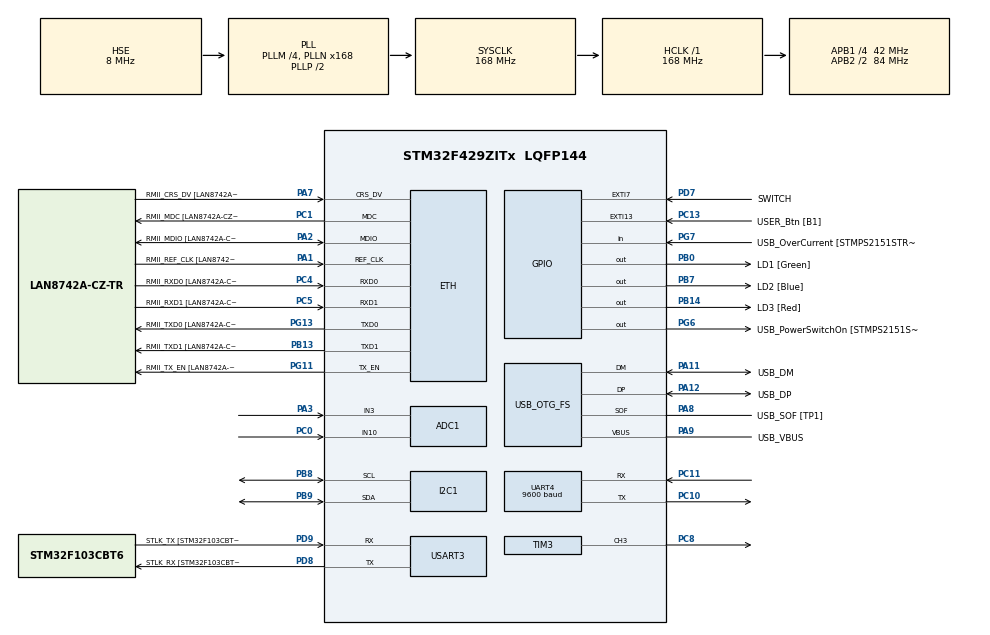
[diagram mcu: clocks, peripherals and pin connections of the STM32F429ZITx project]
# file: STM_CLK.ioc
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ADC1.Channel-0\#ChannelRegularConversion=ADC_CHANNEL_10
ADC1.Channel-1\#ChannelRegularConversion=ADC_CHANNEL_3
ADC1.ContinuousConvMode=ENABLE
ADC1.DMAContinuousRequests=ENABLE
ADC1.DiscontinuousConvMode=DISABLE
ADC1.InjNumberOfConversion=0
ADC1.NbrOfConversion=2
ADC1.NbrOfConversionFlag=1
ADC1.Rank-0\#ChannelRegularConversion=1
ADC1.Rank-1\#ChannelRegularConversion=2
ADC1.SamplingTime-0\#ChannelRegularConversion=ADC_SAMPLETIME_56CYCLES
ADC1.SamplingTime-1\#ChannelRegularConversion=ADC_SAMPLETIME_56CYCLES
ADC1.ScanConvMode=ENABLE
ADC1.master=1
Dma.ADC1.0.Direction=DMA_PERIPH_TO_MEMORY
Dma.ADC1.0.FIFOMode=DMA_FIFOMODE_DISABLE
Dma.ADC1.0.Instance=DMA2_Stream0
Dma.ADC1.0.MemDataAlignment=DMA_MDATAALIGN_WORD
Dma.ADC1.0.MemInc=DMA_MINC_ENABLE
Dma.ADC1.0.Mode=DMA_CIRCULAR
Dma.ADC1.0.PeriphDataAlignment=DMA_PDATAALIGN_WORD
Dma.ADC1.0.PeriphInc=DMA_PINC_DISABLE
Dma.ADC1.0.Priority=DMA_PRIORITY_LOW
Dma.Request0=ADC1
ETH.MediaInterface=HAL_ETH_RMII_MODE
ETH.PHY_Name=LAN8742A_PHY_ADDRESS
ETH.PHY_Value=0
ETH.PhyAddress=0
Mcu.Family=STM32F4
Mcu.Name=STM32F429ZITx
Mcu.Package=LQFP144
NVIC.ADC_IRQn=true\:0\:0\:false\:true\:true\:4\:true\:true\:true
NVIC.DMA2_Stream0_IRQn=true\:0\:0\:false\:false\:true\:false\:true\:true
NVIC.EXTI15_10_IRQn=true\:0\:0\:false\:true\:true\:7\:true\:true\:true
NVIC.EXTI9_5_IRQn=true\:0\:0\:false\:true\:true\:3\:true\:true\:true
NVIC.PriorityGroup=NVIC_PRIORITYGROUP_4
NVIC.RTC_Alarm_IRQn=true\:0\:0\:false\:true\:true\:2\:true\:true\:true
NVIC.TIM2_IRQn=true\:0\:0\:false\:true\:true\:1\:true\:true\:true
NVIC.UART4_IRQn=true\:0\:0\:false\:true\:true\:6\:true\:true\:true
NVIC.USART3_IRQn=true\:0\:0\:false\:true\:true\:5\:true\:true\:true
PA1.GPIO_Label=RMII_REF_CLK [LAN8742A-CZ-TR_REFCLK0]
PA1.Mode=RMII
PA1.Signal=ETH_REF_CLK
PA10.GPIO_Label=USB_ID
PA10.Signal=USB_OTG_FS_ID
PA11.GPIO_Label=USB_DM
PA11.Mode=Device_Only
PA11.Signal=USB_OTG_FS_DM
PA12.GPIO_Label=USB_DP
PA12.Mode=Device_Only
PA12.Signal=USB_OTG_FS_DP
PA13.GPIO_Label=TMS
PA13.Mode=Serial_Wire
PA13.Signal=SYS_JTMS-SWDIO
PA14.GPIO_Label=TCK
PA14.Mode=Serial_Wire
PA14.Signal=SYS_JTCK-SWCLK
PA2.GPIO_Label=RMII_MDIO [LAN8742A-CZ-TR_MDIO]
PA2.Mode=RMII
PA2.Signal=ETH_MDIO
PA3.Signal=ADCx_IN3
PA7.GPIO_Label=RMII_CRS_DV [LAN8742A-CZ-TR_CRS_DV]
PA7.Mode=RMII
PA7.Signal=ETH_CRS_DV
PA8.GPIO_Label=USB_SOF [TP1]
PA8.Mode=Activate_SOF_FS
PA8.Signal=USB_OTG_FS_SOF
PA9.GPIO_Label=USB_VBUS
PA9.Mode=Activate_VBUS
PA9.Signal=USB_OTG_FS_VBUS
PB0.GPIO_Label=LD1 [Green]
PB0.Signal=GPIO_Output
PB13.GPIO_Label=RMII_TXD1 [LAN8742A-CZ-TR_TXD1]
PB13.Mode=RMII
PB13.Signal=ETH_TXD1
PB14.GPIO_Label=LD3 [Red]
PB14.Signal=GPIO_Output
PB7.GPIO_Label=LD2 [Blue]
PB7.Signal=GPIO_Output
PB8.Mode=I2C
PB8.Signal=I2C1_SCL
PB9.Mode=I2C
PB9.Signal=I2C1_SDA
PC0.Signal=ADCx_IN10
PC1.GPIO_Label=RMII_MDC [LAN8742A-CZ-TR_MDC]
PC1.Mode=RMII
PC1.Signal=ETH_MDC
PC10.Mode=Asynchronous
PC10.Signal=UART4_TX
PC11.Mode=Asynchronous
PC11.Signal=UART4_RX
PC13.GPIO_Label=USER_Btn [B1]
PC13.GPIO_ModeDefaultEXTI=GPIO_MODE_IT_RISING_FALLING
PC13.Signal=GPXTI13
PC14/OSC32_IN.Mode=LSE-External-Oscillator
PC14/OSC32_IN.Signal=RCC_OSC32_IN
PC15/OSC32_OUT.Mode=LSE-External-Oscillator
PC15/OSC32_OUT.Signal=RCC_OSC32_OUT
PC4.GPIO_Label=RMII_RXD0 [LAN8742A-CZ-TR_RXD0]
PC4.Mode=RMII
PC4.Signal=ETH_RXD0
PC5.GPIO_Label=RMII_RXD1 [LAN8742A-CZ-TR_RXD1]
PC5.Mode=RMII
PC5.Signal=ETH_RXD1
PC8.Signal=S_TIM3_CH3
PD7.GPIO_Label=SWITCH
PD7.GPIO_ModeDefaultEXTI=GPIO_MODE_IT_RISING_FALLING
PD7.GPIO_PuPd=GPIO_PULLUP
PD7.Signal=GPXTI7
PD8.GPIO_Label=STLK_RX [STM32F103CBT6_PA3]
PD8.Mode=Asynchronous
PD8.Signal=USART3_TX
PD9.GPIO_Label=STLK_TX [STM32F103CBT6_PA2]
PD9.Mode=Asynchronous
PD9.Signal=USART3_RX
PG11.GPIO_Label=RMII_TX_EN [LAN8742A-CZ-TR_TXEN]
PG11.Mode=RMII
PG11.Signal=ETH_TX_EN
PG13.GPIO_Label=RMII_TXD0 [LAN8742A-CZ-TR_TXD0]
PG13.Mode=RMII
PG13.Signal=ETH_TXD0
PG6.GPIO_Label=USB_PowerSwitchOn [STMPS2151STR_EN]
PG6.Signal=GPIO_Output
PG7.GPIO_Label=USB_OverCurrent [STMPS2151STR_FAULT]
PG7.Signal=GPIO_Input
PH0/OSC_IN.GPIO_Label=MCO [STM32F103CBT6_PA8]
PH0/OSC_IN.Mode=HSE-External-Clock-Source
PH0/OSC_IN.Signal=RCC_OSC_IN
PH1/OSC_OUT.Mode=HSE-External-Clock-Source
PH1/OSC_OUT.Signal=RCC_OSC_OUT
ProjectManager.HeapSize=0x200
ProjectManager.StackSize=0x400
ProjectManager.TargetToolchain=STM32CubeIDE
RCC.48MHZClocksFreq_Value=48000000
RCC.AHBFreq_Value=168000000
RCC.APB1CLKDivider=RCC_HCLK_DIV4
RCC.APB1Freq_Value=42000000
RCC.APB1TimFreq_Value=84000000
RCC.APB2CLKDivider=RCC_HCLK_DIV2
RCC.APB2Freq_Value=84000000
RCC.APB2TimCLKDivider=2
RCC.APB2TimFreq_Value=168000000
RCC.CortexFreq_Value=168000000
RCC.HCLKFreq_Value=168000000
RCC.HSE_VALUE=8000000
RCC.HSI_VALUE=16000000
RCC.PLLM=4
RCC.PLLMUL=RCC_PLL_MUL9
RCC.PLLN=168
RCC.PLLQ=7
RCC.PRESCALERUSB=RCC_USBCLKSOURCE_PLL_DIV1_5
RCC.RCC_RTC_Clock_Source=RCC_RTCCLKSOURCE_LSE
RCC.RCC_RTC_Clock_SourceVirtual=RCC_RTCCLKSOURCE_LSE
RCC.SYSCLKFreq_VALUE=168000000
RCC.SYSCLKSource=RCC_SYSCLKSOURCE_PLLCLK
RCC.SYSCLKSourceVirtual=RCC_SYSCLKSOURCE_PLLCLK
RCC.USBFreq_Value=48000000
RCC.VCOOutputFreq_Value=336000000
RTC.Alarm=RTC_ALARM_A
RTC.AlarmMaskDateWeekDay=RTC_ALARMMASK_DATEWEEKDAY
RTC.AlarmMaskHours=RTC_ALARMMASK_HOURS
RTC.AlarmMaskMinutes=RTC_ALARMMASK_MINUTES
RTC.HourFormat=RTC_HOURFORMAT_12
RTC.Minutes_A=1
SH.ADCx_IN10.0=ADC1_IN10,IN10
SH.ADCx_IN3.0=ADC1_IN3,IN3
SH.S_TIM3_CH3.0=TIM3_CH3,PWM Generation3 CH3
TIM2.Period=0xffff-1
TIM2.Prescaler=8400-1
TIM3.Channel-PWM\ Generation3\ CH3=TIM_CHANNEL_3
TIM3.Period=2000-1
TIM3.Prescaler=84-1
UART4.BaudRate=9600
UART4.VirtualMode=Asynchronous
USART3.VirtualMode=VM_ASYNC
USB_OTG_FS.VirtualMode=Device_Only
VP_RTC_VS_RTC_Activate.Mode=RTC_Enabled
VP_RTC_VS_RTC_Alarm_A_Intern.Mode=Alarm A
VP_RTC_VS_RTC_Calendar.Mode=RTC_Calendar
VP_TIM2_VS_ClockSourceINT.Mode=Internal
VP_TIM3_VS_ClockSourceINT.Mode=Internal
board=NUCLEO-F429ZI

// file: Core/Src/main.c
/* USER CODE BEGIN Header */
/**
 ******************************************************************************
 * @file           : main.c
 * @brief          : Main program body
 ******************************************************************************
 * @attention
 *
 * Copyright (c) 2023 STMicroelectronics.
 * All rights reserved.
 *
 * This software is licensed under terms that can be found in the LICENSE file
 * in the root directory of this software component.
 * If no LICENSE file comes with this software, it is provided AS-IS.
 *
 ******************************************************************************
 */
/* USER CODE END Header */
#include "main.h"
#include "adc.h"
#include "dma.h"
#include "eth.h"
#include "i2c.h"
#include "rtc.h"
#include "tim.h"
#include "usart.h"
#include "usb_otg.h"
#include "gpio.h"

/* USER CODE BEGIN Includes */

int _write(int file, char *ptr, int len)
{
	HAL_UART_Transmit(&huart3, (uint8_t*)ptr, len, 500);
	return len;
}

/* USER CODE END Includes */

/* USER CODE BEGIN PD */
#define FLASH_USER_START_ADDR   ADDR_FLASH_SECTOR_22
#define FLASH_USER_END_ADDR     ADDR_FLASH_SECTOR_22  \
		+  GetSectorSize(ADDR_FLASH_SECTOR_22) -1 /* End @ of user Flash area : sector start address + sector size -1 */
#define FLASH_TIME_DATA 0
#define FLASH_ALARM_DATA 32

/* USER CODE END PD */

/* USER CODE BEGIN PV */
CLK_State_t clock_state = NORMAL_STATE;

uint8_t rx3Data, rx4Data;

RTC_AlarmTypeDef sAlarm;
RTC_DateTypeDef sDate;
RTC_TimeTypeDef sTime;
flashStatus_e status_f;
uint32_t Joycon[2];

char showTime[LCD_SIZE] = {0};
char showDate[LCD_SIZE] = {0};
char ampm[2][3] = {"AM", "PM"};
char copyTime[LCD_SIZE];
char controlTime[LCD_SIZE] = {0,};
bleBuffer_t ble = {0};
uint8_t cpyflag = 0, oneClick;
bool isSave = false;

uint8_t temp_ap = 0xFF, temp_h = 0xFF, temp_m = 0xFF, temp_s = 0xFF;
uint8_t curr_ap = 0xFF, curr_h = 0xFF, curr_m = 0xFF, curr_s = 0xFF;
uint8_t alarm_ap = 0xFF, alarm_h = 0xFF, alarm_m = 0xFF, alarm_s = 0xFF;
uint8_t songIndex = 0; // default song index

int adc1_val, adc2_val;

unsigned int stime, etime = 0, interval, ctime, count = 0;
unsigned int dbclk, holdclk;
buttonState buttonPosition;
timeFormat_t timeFormatter;
target_flashRange_t flash;
unsigned char buf[120];

void (*songList[2])(int*) = { springWater_song, threeBear_song };
/* USER CODE END PV */

void SystemClock_Config(void);
static void MX_NVIC_Init(void);

/* USER CODE BEGIN 0 */
uint32_t SECTORError = 0;
uint32_t saveData[DATASIZE_FLASH];

/* USER CODE END 0 */

int main(void)
{

	/* MCU Configuration--------------------------------------------------------*/

	/* Reset of all peripherals, Initializes the Flash interface and the Systick. */
	HAL_Init();

	/* Configure the system clock */
	SystemClock_Config();

	/* Initialize all configured peripherals */
	MX_GPIO_Init();
	MX_DMA_Init();
	MX_ETH_Init();
	MX_USART3_UART_Init();
	MX_USB_OTG_FS_PCD_Init();
	MX_I2C1_Init();
	MX_RTC_Init();
	MX_TIM2_Init();
	MX_UART4_Init();
	MX_ADC1_Init();
	MX_TIM3_Init();

	/* Initialize interrupts */
	MX_NVIC_Init();
	/* USER CODE BEGIN 2 */
	HAL_TIM_PWM_Start(&htim3, TIM_CHANNEL_3);
	HAL_ADC_Start_DMA(&hadc1, Joycon, sizeof(Joycon)/sizeof(Joycon[0]));
	HAL_UART_Receive_IT(&huart3, (uint8_t*)&rx3Data, sizeof(rx3Data));
	HAL_UART_Receive_IT(&huart4, (uint8_t*)&rx4Data, sizeof(rx4Data));
	HAL_RTC_SetAlarm_IT(&hrtc, &sAlarm, RTC_FORMAT_BIN);
	init();
	LCD_Clear();
	set_date(RTC_WEEKDAY_WEDNESDAY, 11, 22, 23);
//	set_time(13,25,0);
//	set_alarm(0, 0, 5);

	initFlash(&flash, FLASH_USER_START_ADDR, FLASH_USER_END_ADDR);

	clockEntry();
	//eraseFlash(FLASH_USER_START_ADDR);
	//springWater_song();
	/* USER CODE END 2 */

	/* Infinite loop */
	/* USER CODE BEGIN WHILE */
	while (1)
	{
		//printf("x: %d\r\ny: %d\r\n",Joycon[0],Joycon[1]);
		//printf("current state: %d\r\n", clock_state);
#if 1
		switch(clock_state)
		{
		case NORMAL_STATE:
			get_time();
			HAL_Delay(300);
			ble.receivedCommand_flag = false;
			BLE_Command();
			break;
		case TIME_SETTING:
			// 1. timer setting
			// 2. save at flash
			timeSetter(TIME_SET);
			LCD_PrintAll("Set Time      ", controlTime);
			if(isSave == true || ble.receivedCommand_flag == true)
			{
				saveCurrentTime(TIME_SET);
				set_time(curr_h, curr_m, curr_s);
				ble.receivedCommand_flag = false;
				BLE_Command();
				LCD_Clear();
			}
			printf("setting mode\r\n");
			HAL_Delay(500);
			break;
		case ALARM_TIME_SETTING:
			// 1. alarm time setting
			// 2. save at flash
			timeSetter(ALARM_SET);
			LCD_PrintAll("Wake Up Time", controlTime);
			if(isSave == true || ble.receivedCommand_flag)
			{
				saveCurrentTime(ALARM_SET);
				set_alarm(alarm_h, alarm_m, alarm_s);
				ble.receivedCommand_flag = false;
				BLE_Command();
				LCD_Clear();
			}
			printf("alarm mode\r\n");
			HAL_Delay(500);
			break;
		case MUSIC_SELECT:
			// 1. music select
			// 2. save at flash
			selectSong();
			if(isSave == true || ble.receivedCommand_flag)
			{
				remove_tone();
				saveCurrentTime(SONG_SET);
				ble.receivedCommand_flag = false;
				BLE_Command();
				LCD_Clear();
			}
			printf("music mode\r\n");
			break;
		default:
			clock_state = NORMAL_STATE;
			break;
		}
#endif
#if 0
		//selectSong();
#endif

		/* USER CODE END WHILE */

	}
}

void SystemClock_Config(void)
{
	RCC_OscInitTypeDef RCC_OscInitStruct = {0};
	RCC_ClkInitTypeDef RCC_ClkInitStruct = {0};

	/** Configure the main internal regulator output voltage
	 */
	__HAL_RCC_PWR_CLK_ENABLE();
	__HAL_PWR_VOLTAGESCALING_CONFIG(PWR_REGULATOR_VOLTAGE_SCALE1);

	/** Initializes the RCC Oscillators according to the specified parameters
	 * in the RCC_OscInitTypeDef structure.
	 */
	RCC_OscInitStruct.OscillatorType = RCC_OSCILLATORTYPE_HSE|RCC_OSCILLATORTYPE_LSE;
	RCC_OscInitStruct.HSEState = RCC_HSE_BYPASS;
	RCC_OscInitStruct.LSEState = RCC_LSE_ON;
	RCC_OscInitStruct.PLL.PLLState = RCC_PLL_ON;
	RCC_OscInitStruct.PLL.PLLSource = RCC_PLLSOURCE_HSE;
	RCC_OscInitStruct.PLL.PLLM = 4;
	RCC_OscInitStruct.PLL.PLLN = 168;
	RCC_OscInitStruct.PLL.PLLP = RCC_PLLP_DIV2;
	RCC_OscInitStruct.PLL.PLLQ = 7;
	if (HAL_RCC_OscConfig(&RCC_OscInitStruct) != HAL_OK)
	{
		Error_Handler();
	}

	/** Initializes the CPU, AHB and APB buses clocks
	 */
	RCC_ClkInitStruct.ClockType = RCC_CLOCKTYPE_HCLK|RCC_CLOCKTYPE_SYSCLK
			|RCC_CLOCKTYPE_PCLK1|RCC_CLOCKTYPE_PCLK2;
	RCC_ClkInitStruct.SYSCLKSource = RCC_SYSCLKSOURCE_PLLCLK;
	RCC_ClkInitStruct.AHBCLKDivider = RCC_SYSCLK_DIV1;
	RCC_ClkInitStruct.APB1CLKDivider = RCC_HCLK_DIV4;
	RCC_ClkInitStruct.APB2CLKDivider = RCC_HCLK_DIV2;

	if (HAL_RCC_ClockConfig(&RCC_ClkInitStruct, FLASH_LATENCY_5) != HAL_OK)
	{
		Error_Handler();
	}
}

/**
 * @brief NVIC Configuration.
 * @retval None
 */
static void MX_NVIC_Init(void)
{
	/* TIM2_IRQn interrupt configuration */
	HAL_NVIC_SetPriority(TIM2_IRQn, 0, 0);
	HAL_NVIC_EnableIRQ(TIM2_IRQn);
	/* RTC_Alarm_IRQn interrupt configuration */
	HAL_NVIC_SetPriority(RTC_Alarm_IRQn, 0, 0);
	HAL_NVIC_EnableIRQ(RTC_Alarm_IRQn);
	/* EXTI9_5_IRQn interrupt configuration */
	HAL_NVIC_SetPriority(EXTI9_5_IRQn, 0, 0);
	HAL_NVIC_EnableIRQ(EXTI9_5_IRQn);
	/* ADC_IRQn interrupt configuration */
	HAL_NVIC_SetPriority(ADC_IRQn, 0, 0);
	HAL_NVIC_EnableIRQ(ADC_IRQn);
	/* USART3_IRQn interrupt configuration */
	HAL_NVIC_SetPriority(USART3_IRQn, 0, 0);
	HAL_NVIC_EnableIRQ(USART3_IRQn);
	/* UART4_IRQn interrupt configuration */
	HAL_NVIC_SetPriority(UART4_IRQn, 0, 0);
	HAL_NVIC_EnableIRQ(UART4_IRQn);
	/* EXTI15_10_IRQn interrupt configuration */
	HAL_NVIC_SetPriority(EXTI15_10_IRQn, 0, 0);
	HAL_NVIC_EnableIRQ(EXTI15_10_IRQn);
}

/* USER CODE BEGIN 4 */
// DATASIZE_FLASH
void clockEntry()
{
	if(readFlash(flash.USER_START_ADDR) == ACTIVE_FLASH)
	{
		for(uint32_t index = 0;
				index < DATASIZE_FLASH*4; index += 4)
		{
			saveData[index/4] = readFlash(flash.USER_START_ADDR + index);
		}
		printf(">>data loaded\r\n");
	}
	else
	{
		printf("no data exist\r\n just start\r\n");
	}
	init_set_time();
}

void init_set_time()
{
	sTime.TimeFormat = saveData[AMPM_CUR];
	sTime.Hours = saveData[HOUR_CUR];
	sTime.Minutes = saveData[MIN_CUR];
	sTime.Seconds = saveData[SEC_CUR];
	HAL_RTC_SetTime(&hrtc, &sTime, RTC_FORMAT_BIN);
}

void set_time(uint8_t hh, uint8_t mm, uint8_t ss)
{
	//RTC_TimeTypeDef sTime;
	sTime.Hours = hh;
	sTime.Minutes = mm;
	sTime.Seconds = ss;
	if(hh >= 12)
	{
		sTime.TimeFormat = 1;
	}
	else
	{
		sTime.TimeFormat = 0;
	}
	HAL_RTC_SetTime(&hrtc, &sTime, RTC_FORMAT_BIN);
}
void set_alarm(uint8_t hh, uint8_t mm, uint8_t ss)
{
	sAlarm.AlarmTime.Hours = hh;
	sAlarm.AlarmTime.Minutes = mm;
	sAlarm.AlarmTime.Seconds = ss;
	sAlarm.AlarmTime.SubSeconds = 0x0;
	sAlarm.AlarmTime.TimeFormat = RTC_HOURFORMAT12_AM;
	sAlarm.AlarmTime.DayLightSaving = RTC_DAYLIGHTSAVING_NONE;
	sAlarm.AlarmTime.StoreOperation = RTC_STOREOPERATION_RESET;
	sAlarm.AlarmMask = RTC_ALARMMASK_DATEWEEKDAY;
	sAlarm.AlarmSubSecondMask = RTC_ALARMSUBSECONDMASK_ALL;
	sAlarm.AlarmDateWeekDaySel = RTC_ALARMDATEWEEKDAYSEL_DATE;
	sAlarm.AlarmDateWeekDay = 0x1;
	sAlarm.Alarm = RTC_ALARM_A;
	if (HAL_RTC_SetAlarm_IT(&hrtc, &sAlarm, RTC_FORMAT_BCD) != HAL_OK)
	{
		Error_Handler();
	}
	HAL_RTC_SetAlarm_IT(&hrtc, &sAlarm, RTC_FORMAT_BIN);
}
void set_date(uint8_t ww, uint8_t mm, uint8_t dd, uint8_t yy)
{
	//RTC_DateTypeDef sDate;
	sDate.WeekDay = ww;
	sDate.Month = mm;
	sDate.Date = dd;
	sDate.Year = yy;
	HAL_RTC_SetDate(&hrtc, &sDate, RTC_FORMAT_BIN);
}

void get_time(void)
{
	HAL_RTC_GetTime(&hrtc, &sTime, RTC_FORMAT_BIN);
	HAL_RTC_GetDate(&hrtc, &sDate, RTC_FORMAT_BIN);

	temp_ap = sTime.TimeFormat;
	temp_h = sTime.Hours;
	temp_m = sTime.Minutes;
	temp_s = sTime.Seconds;

	if(temp_h >= 24)
	{
		set_time(0, 0, 0);
	}
	memset(showTime, 0, sizeof(showTime)/sizeof(showTime));
	memset(showDate, 0, sizeof(showDate)/sizeof(showDate));
	sprintf((char*)showTime, "%s %02d:%02d:%02d",ampm[sTime.TimeFormat], sTime.Hours, sTime.Minutes, sTime.Seconds);
	sprintf((char*)showDate, "  %04d/%02d/%02d",2000+sDate.Year, sDate.Month, sDate.Date);
	LCD_PrintAll(showDate, showTime);
}

void timeSetter(flashStatus_e status)
{
	static bool toggleChar = false;
	static uint8_t choice = 0;

	if(IsRight())
	{
		choice ++;
		if(choice > 3)
		{
			choice = 0;
		}
	}
	else if(IsLeft())
	{
		choice --;
		if(choice > 4)
		{
			choice = 3;
		}
	}
	switch (choice)
	{
	case AMPM:
		if(toggleChar)
		{
			sprintf(controlTime, "__ %02d:%02d:%02d",temp_h,temp_m,temp_s);
		}
		else
		{
			if(IsUP())
			{
				temp_ap++;
			}
			else if(IsDown())
			{
				temp_ap--;
			}

			temp_ap = temp_ap % 2;				// essential
			if(temp_ap == 1)
			{
				temp_h = temp_h % 12 + 12;
			}
			else
			{
				temp_h = temp_h % 12;
			}
			sprintf(controlTime, "%s %02d:%02d:%02d",ampm[temp_ap],temp_h,temp_m,temp_s);
		}
		break;
	case HOUR:
		if(toggleChar)
		{
			sprintf(controlTime, "%s __:%02d:%02d",ampm[temp_ap%2],temp_m,temp_s);
		}
		else
		{
			if(IsUP())
			{
				temp_h++;
			}
			else if(IsDown())
			{
				temp_h--;
			}
			//temp_h %= 24;
			if(temp_h == 0xFF)
			{
				temp_h = 23;
			}
			else
			{
				temp_h = temp_h % 24;	// 0 ~ 23
				if(temp_h >= 12)
				{
					temp_ap = 1;
				}
				else
				{
					temp_ap = 0;
				}
			}
			sprintf(controlTime, "%s %02d:%02d:%02d",ampm[temp_ap],temp_h,temp_m,temp_s);
		}
		break;
	case MIN:
		if(toggleChar)
		{
			sprintf(controlTime, "%s %02d:__:%02d",ampm[temp_ap],temp_h,temp_s);
		}
		else
		{
			if(IsUP())
			{
				temp_m++;
			}
			else if(IsDown())
			{
				temp_m--;
			}
			//temp_m %= 60;
			if(temp_m == 0xFF)
			{
				temp_m = 59;
			}
			else
			{
				temp_m %= 60;
			}
			sprintf(controlTime, "%s %02d:%02d:%02d",ampm[temp_ap],temp_h,temp_m,temp_s);
		}
		break;
	case SEC:
		if(toggleChar)
		{
			sprintf(controlTime, "%s %02d:%02d:__",ampm[temp_ap],temp_h,temp_m);
		}
		else
		{
			if(IsUP())
			{
				temp_s++;
			}
			else if(IsDown())
			{
				temp_s--;
			}
			//temp_s %= 60;
			if(temp_s == 0xFF)
			{
				temp_s = 59;
			}
			else
			{
				temp_s %= 60;
			}
			sprintf(controlTime, "%s %02d:%02d:%02d",ampm[temp_ap],temp_h,temp_m,temp_s);
		}
		break;
	default:
		break;
	}
	if(status == TIME_SET)
	{
		curr_ap = temp_ap;
		curr_h = temp_h;
		curr_m = temp_m;
		curr_s = temp_s;
	}
	else if(status == ALARM_SET)
	{
		alarm_ap = temp_ap;
		alarm_h = temp_h;
		alarm_m = temp_m;
		alarm_s = temp_s;
	}
	toggleChar = !toggleChar;
}
void saveCurrentTime(flashStatus_e status)
{
	if(status ==  TIME_SET)
	{
		saveData[FLASH_ON] = ACTIVE_FLASH;
	}
	else if(status == ALARM_SET)
	{
		saveData[ALARM_ON] = ACTIVE_ALARM;
	}
	else if(status == SONG_SET)
	{
		saveData[SONG_ON] = ACTIVE_SONG;
	}
	saveData[AMPM_CUR] = curr_ap;
	saveData[HOUR_CUR] = curr_h;
	saveData[MIN_CUR] = curr_m;
	saveData[SEC_CUR] = curr_s;

	saveData[AMPM_AL] = alarm_ap;
	saveData[HOUR_AL] = alarm_h;
	saveData[MIN_AL] = alarm_m;
	saveData[SEC_AL] = alarm_s;

	saveData[SONG_INDEX] = songIndex;

	eraseFlash(&flash);
	for(int index = 0; index < DATASIZE_FLASH * 4; index += 4)
	{
		overwriteFlash(&flash, saveData[index/4]);
		flash.USER_TARGET_ADDR += 4;
	}
	flash.USER_TARGET_ADDR = flash.USER_START_ADDR;
	isSave = false;
	clock_state = NORMAL_STATE;
}

void selectSong(void)
{
	static int now_playing = 0;
	char currentSong[LCD_SIZE] = {0};

	if(IsUP())
	{
		songIndex++;
		now_playing = 0;
		LCD_Clear();
	}
	else if(IsDown())
	{
		songIndex--;
		now_playing = 0;
		LCD_Clear();
	}
	printf("y: %ld\r\n",Joycon[1]);
	songIndex %= 2;
	if(songIndex == 0)
	{
		memcpy(currentSong, "1. Spring Water", sizeof(currentSong)/sizeof(currentSong[0]));
	}
	else if(songIndex == 1)
	{
		memcpy(currentSong, "2. Three Bears", sizeof(currentSong)/sizeof(currentSong[0]));
	}
	LCD_PrintAll("Wake Up Call", currentSong);
	songList[songIndex](&now_playing);
}

void HAL_RTC_AlarmAEventCallback(RTC_HandleTypeDef *hrtc)
{
	HAL_GPIO_TogglePin(GPIOB, LD1_Pin|LD2_Pin|LD3_Pin);
	printf("RINGRINGRINGRING!!!!!!!!!!!!!!!!!!!!\r\n");
}

void HAL_GPIO_EXTI_Callback(uint16_t GPIO_Pin)
{
	//stime = HxAL_GetTick();
	// joystick switch
	GPIO_PinState pinstate;
	if(GPIO_Pin == SWITCH_Pin)
	{
		//printf("switch toggle\r\n");
		stime = HAL_GetTick();
		interval = stime - etime;
		etime = stime;
		if(interval > 100)
		{
			memset(buf,0, sizeof(buf));
			pinstate = HAL_GPIO_ReadPin(SWITCH_GPIO_Port, SWITCH_Pin);
			if(pinstate == GPIO_PIN_SET)
			{
				printf("OFF\r\n");
				holdclk = interval;
				oneClick++;
				oneClick %= 2;
			}
			else if(pinstate == GPIO_PIN_RESET)
			{
				printf("ON\r\n");
				holdclk = 0;
				if(interval < 1000)
				{
					dbclk++;
				}
				else
				{
					dbclk = 0;
				}

			}
			//printf("intvl time: %d\r\n",interval);
			// Alarm time Setting State
			if(holdclk >= 3000)
			{
				printf("***held at least 3 sec ***\r\n");
			}
			// Morning call Setting State
			else if(dbclk >= 2)
			{
				printf("***double click activate***\r\n");
				if(clock_state == NORMAL_STATE)
				{
					clock_state = MUSIC_SELECT;
				}
				dbclk = 0;
			}
			// Timer Setting State
			if(oneClick == 1)
			{
				printf("timer setting\r\n");
				cpyflag = 1;
				if(clock_state == NORMAL_STATE)
				{
					clock_state = TIME_SETTING;
					printf("set to Time\r\n");
				}
				else if(clock_state == TIME_SETTING || clock_state == MUSIC_SELECT)
				{
					printf("set to Save\r\n");
					isSave = true;
				}
			}
		}
	}
}
void BLE_Command()
{
	switch (ble.command[0]) {
		case 'A':
			clock_state = ALARM_TIME_SETTING;
			break;
		case 'T':
			clock_state = TIME_SETTING;
			break;
		case 'M':
			clock_state = MUSIC_SELECT;
			break;
		case 'N':
			clock_state = NORMAL_STATE;
			break;
		case 'U':
			Joycon[1] = UP;
		break;
		case 'D':
			Joycon[1] = DOWN;
			break;
		case 'L':
			Joycon[0] = LEFT;
			break;
		case 'R':
			Joycon[0] = RIGHT;
			break;
		default:
			printf("BLE bool: %d", ble.receivedCommand_flag);
			break;
	}
//	if(strcmp("ALARM", ble.command) == 0)
//	{
//		clock_state = ALARM_TIME_SETTING;
//		printf("ON\r\n");
//	}
//	else if(strcmp("NORMAL", ble.command) == 0)
//	{
//		clock_state = NORMAL_STATE;
//		printf("ON\r\n");
//	}
//	else if(strcmp("MUSIC", ble.command) == 0)
//	{
//		clock_state = MUSIC_SELECT;
//		printf("ON\r\n");
//	}
//	else if(strcmp("TIME", ble.command) == 0)
//	{
//		clock_state = TIME_SETTING;
//		printf("ON\r\n");
//	}
//	else
//	{
//		printf("OFF\r\n");
//	}
}

bool IsRight(void)
{
	return Joycon[0] >= RIGHT ? true : false;
}
bool IsLeft(void)
{
	return Joycon[0] <= LEFT ? true : false;
}
bool IsUP(void)
{
	return Joycon[1] >= UP ? true : false;
}
bool IsDown(void)
{
	return Joycon[1] <= DOWN ? true : false;
}

void HAL_UART_RxCpltCallback(UART_HandleTypeDef *huart)
{
	// From COM3 ->(UART3)ST(UART4) ->BLE
	if(huart->Instance == USART3)
	{
		// received enter key
		if(rx3Data == '\r' || ble.cur_BLE_Index > 64)
		{
			printf("\r\n send following data to BLE \r\n");
			printf(ble.bleBuffer);
			printf("\r\n");
			HAL_UART_Transmit(&huart4, (uint8_t*)&ble.bleBuffer, ble.cur_BLE_Index, 500);
			memset(ble.bleBuffer, 0, sizeof(ble.bleBuffer)/sizeof(ble.bleBuffer[0]));
			ble.cur_BLE_Index = 0;
		}
		else
		{
			ble.bleBuffer[ble.cur_BLE_Index] = rx3Data;
			printf("collecting: %c\r\n", (char)rx3Data);
			ble.cur_BLE_Index++;
		}

		HAL_UART_Receive_IT(&huart3, (uint8_t*)&rx3Data, sizeof(rx3Data));
	}
	// From BLE ->(UART4)ST(UART3)->COM3
	else if(huart->Instance == UART4)
	{
		HAL_UART_Transmit(&huart3, (uint8_t*)&rx4Data, sizeof(rx4Data), 100);
		HAL_UART_Receive_IT(&huart4, (uint8_t*)&rx4Data, sizeof(rx4Data));
		if(rx4Data == '\n')
		{
			ble.comBuffer[ble.cur_COM_Index] = '\0';
			memcpy(ble.command, ble.comBuffer, sizeof(ble.comBuffer)/sizeof(ble.comBuffer[0]));
			memset(ble.comBuffer, 0, sizeof(ble.comBuffer)/sizeof(ble.comBuffer[0]));
			//strcat(ble.command, "\0", 1);
			ble.receivedCommand_flag = true;
			ble.cur_COM_Index = 0;
			printf("<끝>\r\n");
		}
		else
		{
			ble.comBuffer[ble.cur_COM_Index] = rx4Data;
			ble.cur_COM_Index++;
		}
#if 0
		if(ble.comBuffer[ble.cur_COM_Index] == '\0' | ble.cur_COM_Index > 64)
		{
			HAL_UART_Transmit(&huart3, (uint8_t*)&rx3Data, sizeof(rx3Data), 100);
			printf("data received from BLE\r\n");
			HAL_UART_Transmit(&huart4, (uint8_t*)&rx4Data, sizeof(rx4Data), 100);
			ble.cur_COM_Index = 0;
		}
		else
		{
			ble.comBuffer[ble.cur_COM_Index] = rx4Data;

			printf("something wrong here..%c\r\n", ble.comBuffer[ble.cur_COM_Index]);
			ble.cur_COM_Index++;
		}
		HAL_UART_Receive_IT(&huart4, (uint8_t*)&rx4Data, sizeof(rx4Data));
#endif
	}

}

/* USER CODE END 4 */

void Error_Handler(void)
{
	__disable_irq();
	while (1)
	{
	}
}
